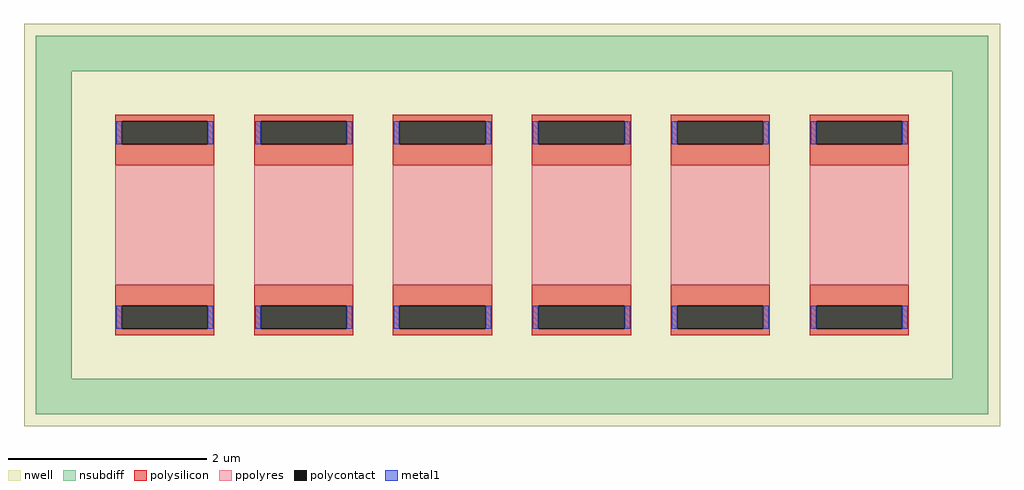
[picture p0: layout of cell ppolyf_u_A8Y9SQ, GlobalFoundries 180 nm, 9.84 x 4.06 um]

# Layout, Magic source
magic
tech gf180mcuC
magscale 1 10
<< nwell >>
rect -984 -406 984 406
<< nsubdiff >>
rect -960 310 960 382
rect -960 -310 -888 310
rect 888 -310 960 310
rect -960 -382 960 -310
<< polysilicon >>
rect -800 209 -600 222
rect -800 163 -787 209
rect -613 163 -600 209
rect -800 120 -600 163
rect -800 -163 -600 -120
rect -800 -209 -787 -163
rect -613 -209 -600 -163
rect -800 -222 -600 -209
rect -520 209 -320 222
rect -520 163 -507 209
rect -333 163 -320 209
rect -520 120 -320 163
rect -520 -163 -320 -120
rect -520 -209 -507 -163
rect -333 -209 -320 -163
rect -520 -222 -320 -209
rect -240 209 -40 222
rect -240 163 -227 209
rect -53 163 -40 209
rect -240 120 -40 163
rect -240 -163 -40 -120
rect -240 -209 -227 -163
rect -53 -209 -40 -163
rect -240 -222 -40 -209
rect 40 209 240 222
rect 40 163 53 209
rect 227 163 240 209
rect 40 120 240 163
rect 40 -163 240 -120
rect 40 -209 53 -163
rect 227 -209 240 -163
rect 40 -222 240 -209
rect 320 209 520 222
rect 320 163 333 209
rect 507 163 520 209
rect 320 120 520 163
rect 320 -163 520 -120
rect 320 -209 333 -163
rect 507 -209 520 -163
rect 320 -222 520 -209
rect 600 209 800 222
rect 600 163 613 209
rect 787 163 800 209
rect 600 120 800 163
rect 600 -163 800 -120
rect 600 -209 613 -163
rect 787 -209 800 -163
rect 600 -222 800 -209
<< polycontact >>
rect -787 163 -613 209
rect -787 -209 -613 -163
rect -507 163 -333 209
rect -507 -209 -333 -163
rect -227 163 -53 209
rect -227 -209 -53 -163
rect 53 163 227 209
rect 53 -209 227 -163
rect 333 163 507 209
rect 333 -209 507 -163
rect 613 163 787 209
rect 613 -209 787 -163
<< ppolyres >>
rect -800 -120 -600 120
rect -520 -120 -320 120
rect -240 -120 -40 120
rect 40 -120 240 120
rect 320 -120 520 120
rect 600 -120 800 120
<< metal1 >>
rect -798 163 -787 209
rect -613 163 -602 209
rect -518 163 -507 209
rect -333 163 -322 209
rect -238 163 -227 209
rect -53 163 -42 209
rect 42 163 53 209
rect 227 163 238 209
rect 322 163 333 209
rect 507 163 518 209
rect 602 163 613 209
rect 787 163 798 209
rect -798 -209 -787 -163
rect -613 -209 -602 -163
rect -518 -209 -507 -163
rect -333 -209 -322 -163
rect -238 -209 -227 -163
rect -53 -209 -42 -163
rect 42 -209 53 -163
rect 227 -209 238 -163
rect 322 -209 333 -163
rect 507 -209 518 -163
rect 602 -209 613 -163
rect 787 -209 798 -163
<< properties >>
string FIXED_BBOX -924 -346 924 346
string gencell ppolyf_u
string library gf180mcu
string parameters w 1.0 l 1.2 m 1 nx 6 wmin 0.80 lmin 1.00 rho 315 val 406.451 dummy 0 dw 0.07 term 0.0 sterm 0.0 caplen 0.4 snake 0 glc 0 grc 0 gtc 0 gbc 0 roverlap 0 endcov 100 full_metal 0
<< end >>
